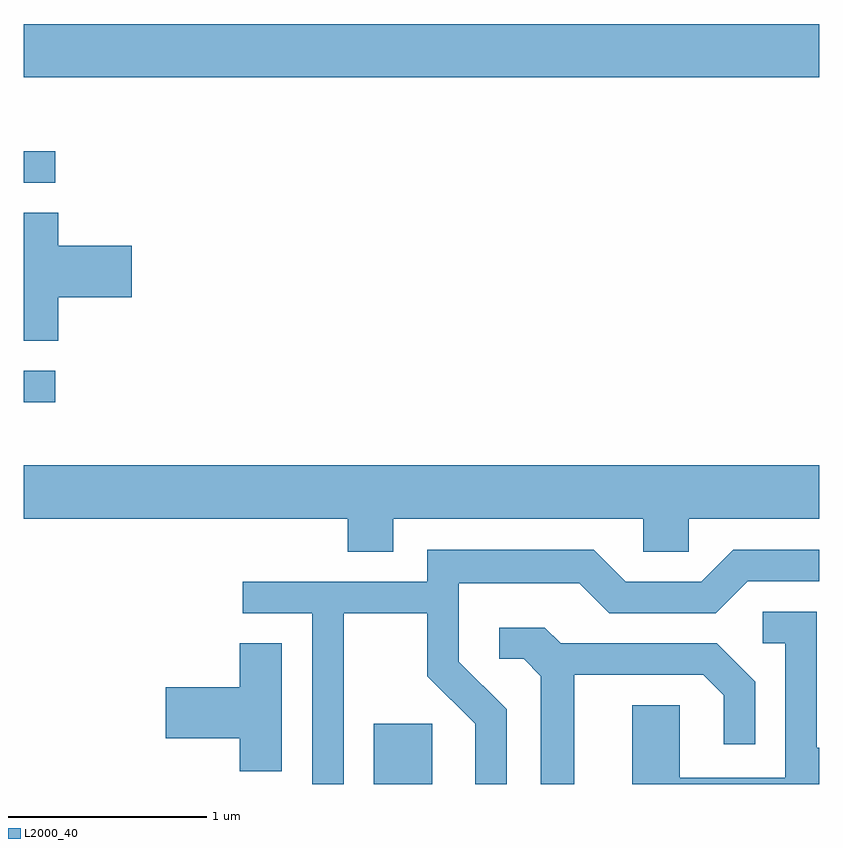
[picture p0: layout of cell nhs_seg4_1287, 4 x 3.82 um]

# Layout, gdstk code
import gdstk
lib = gdstk.Library(unit=1e-6, precision=1e-09)
def R(c, l, rs):  # rectangles x0, y0, x1, y1
    for r in rs: c.add(gdstk.rectangle(r[:2], r[2:], *l))
def P(c, l, *ps):  # polygons
    for p in ps: c.add(gdstk.Polygon(p, *l))
L2000_40 = (2000, 40)

nhs_seg4_1287 = lib.new_cell('nhs_seg4_1287')
R(nhs_seg4_1287, L2000_40, [(223.371,1379.982,223.664,1380.284), (221.611,1381.901,221.768,1382.059), (221.611,1383.006,221.768,1383.164), (221.611,1383.536,225.611,1383.804)])
P(nhs_seg4_1287, L2000_40, [(221.784,1382.431),(222.154,1382.431),(222.154,1382.689),(221.784,1382.689),(221.784,1382.854),(221.611,1382.854),(221.611,1382.211),(221.784,1382.211)],
  [(223.469,1381.316),(224.726,1381.316),(224.726,1381.151),(224.954,1381.151),(224.954,1381.316),(225.611,1381.316),(225.611,1381.584),(221.611,1381.584),(221.611,1381.316),(223.241,1381.316),(223.241,1381.151),(223.469,1381.151)],
  [(223.219,1380.841),(223.641,1380.841),(223.641,1380.524),(223.881,1380.284),(223.881,1379.982),(224.039,1379.982),(224.039,1380.357),(223.799,1380.597),(223.799,1380.991),(224.404,1380.991),(224.554,1380.841),(225.092,1380.841),(225.252,1381.001),(225.611,1381.001),(225.611,1381.159),(225.179,1381.159),(225.019,1380.999),(224.637,1380.999),(224.477,1381.159),(223.641,1381.159),(223.641,1380.999),(222.713,1380.999),(222.713,1380.841),(223.061,1380.841),(223.061,1379.982),(223.219,1379.982)],
  [(225.611,1380.164),(225.599,1380.164),(225.599,1380.849),(225.328,1380.849),(225.328,1380.691),(225.441,1380.691),(225.441,1380.014),(224.909,1380.014),(224.909,1380.379),(224.671,1380.379),(224.671,1379.982),(225.611,1379.982)],
  [(224.379,1380.531),(225.029,1380.531),(225.131,1380.429),(225.131,1380.183),(225.289,1380.183),(225.289,1380.497),(225.097,1380.689),(224.312,1380.689),(224.232,1380.769),(224.003,1380.769),(224.003,1380.611),(224.124,1380.611),(224.211,1380.524),(224.211,1379.982),(224.379,1379.982)],
  [(222.909,1380.689),(222.696,1380.689),(222.696,1380.469),(222.326,1380.469),(222.326,1380.211),(222.696,1380.211),(222.696,1380.046),(222.909,1380.046)])

lib.write_gds('nhs_seg4_1287.gds')
